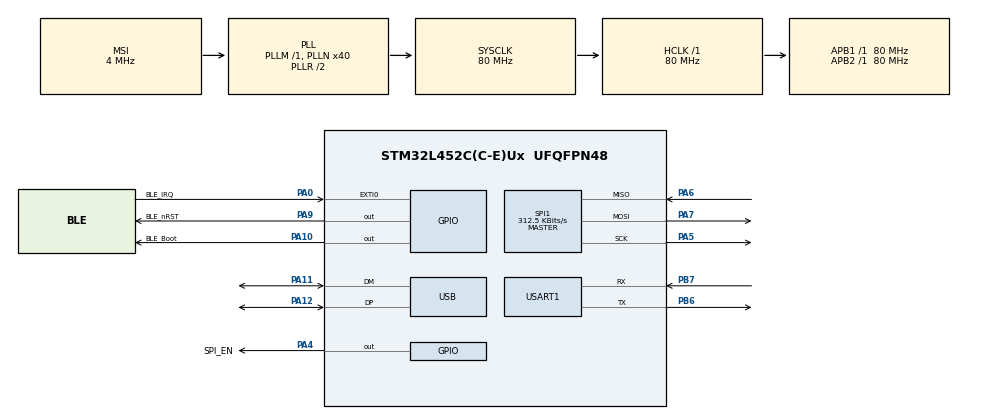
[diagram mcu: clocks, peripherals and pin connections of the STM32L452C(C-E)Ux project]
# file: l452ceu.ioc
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ARM.CMSIS.5.6.0.CMSISJjCORE=true
ARM.CMSIS.5.6.0.DeviceJjStartup=COoStartup
Dma.Request0=SPI1_TX
Dma.Request1=SPI1_RX
Dma.SPI1_RX.1.Direction=DMA_PERIPH_TO_MEMORY
Dma.SPI1_RX.1.Instance=DMA1_Channel2
Dma.SPI1_RX.1.MemDataAlignment=DMA_MDATAALIGN_BYTE
Dma.SPI1_RX.1.MemInc=DMA_MINC_ENABLE
Dma.SPI1_RX.1.Mode=DMA_NORMAL
Dma.SPI1_RX.1.PeriphDataAlignment=DMA_PDATAALIGN_BYTE
Dma.SPI1_RX.1.PeriphInc=DMA_PINC_DISABLE
Dma.SPI1_RX.1.Priority=DMA_PRIORITY_LOW
Dma.SPI1_TX.0.Direction=DMA_MEMORY_TO_PERIPH
Dma.SPI1_TX.0.Instance=DMA1_Channel3
Dma.SPI1_TX.0.MemDataAlignment=DMA_MDATAALIGN_BYTE
Dma.SPI1_TX.0.MemInc=DMA_MINC_ENABLE
Dma.SPI1_TX.0.Mode=DMA_NORMAL
Dma.SPI1_TX.0.PeriphDataAlignment=DMA_PDATAALIGN_BYTE
Dma.SPI1_TX.0.PeriphInc=DMA_PINC_DISABLE
Dma.SPI1_TX.0.Priority=DMA_PRIORITY_LOW
Mcu.Family=STM32L4
Mcu.Name=STM32L452C(C-E)Ux
Mcu.Package=UFQFPN48
NVIC.DMA1_Channel2_IRQn=true\:2\:0\:true\:false\:true\:false\:true
NVIC.DMA1_Channel3_IRQn=true\:2\:0\:true\:false\:true\:false\:true
NVIC.EXTI0_IRQn=true\:0\:0\:false\:false\:true\:true\:true
NVIC.PriorityGroup=NVIC_PRIORITYGROUP_4
NVIC.SPI1_IRQn=true\:0\:0\:false\:false\:true\:true\:true
NVIC.TIM6_DAC_IRQn=true\:3\:0\:true\:false\:true\:true\:true
NVIC.USART1_IRQn=true\:0\:0\:false\:false\:true\:true\:true
NVIC.USB_IRQn=true\:0\:0\:false\:false\:true\:false\:true
PA0.GPIO_Label=BLE_IRQ
PA0.GPIO_ModeDefaultEXTI=GPIO_MODE_IT_RISING_FALLING
PA0.Signal=GPXTI0
PA10.GPIO_Label=BLE_Boot
PA10.GPIO_ModeDefaultOutputPP=GPIO_MODE_OUTPUT_PP
PA10.GPIO_PuPd=GPIO_NOPULL
PA10.GPIO_Speed=GPIO_SPEED_FREQ_LOW
PA10.PinState=GPIO_PIN_RESET
PA10.Signal=GPIO_Output
PA11.Mode=Device
PA11.Signal=USB_DM
PA12.Mode=Device
PA12.Signal=USB_DP
PA13\ (JTMS/SWDIO).Mode=Serial_Wire
PA13\ (JTMS/SWDIO).Signal=SYS_JTMS-SWDIO
PA14\ (JTCK/SWCLK).Mode=Serial_Wire
PA14\ (JTCK/SWCLK).Signal=SYS_JTCK-SWCLK
PA4.GPIO_Label=SPI_EN
PA4.GPIO_ModeDefaultOutputPP=GPIO_MODE_OUTPUT_PP
PA4.GPIO_PuPd=GPIO_NOPULL
PA4.GPIO_Speed=GPIO_SPEED_FREQ_LOW
PA4.PinState=GPIO_PIN_RESET
PA4.Signal=GPIO_Output
PA5.Mode=Full_Duplex_Master
PA5.Signal=SPI1_SCK
PA6.Mode=Full_Duplex_Master
PA6.Signal=SPI1_MISO
PA7.Mode=Full_Duplex_Master
PA7.Signal=SPI1_MOSI
PA9.GPIO_Label=BLE_nRST
PA9.GPIO_ModeDefaultOutputPP=GPIO_MODE_OUTPUT_PP
PA9.GPIO_PuPd=GPIO_NOPULL
PA9.GPIO_Speed=GPIO_SPEED_FREQ_LOW
PA9.PinState=GPIO_PIN_RESET
PA9.Signal=GPIO_Output
PB6.Mode=Asynchronous
PB6.Signal=USART1_TX
PB7.Mode=Asynchronous
PB7.Signal=USART1_RX
ProjectManager.HeapSize=0x200
ProjectManager.StackSize=0x400
ProjectManager.TargetToolchain=MDK-ARM V5.27
RCC.ADCFreq_Value=48000000
RCC.AHBFreq_Value=80000000
RCC.APB1Freq_Value=80000000
RCC.APB1TimFreq_Value=80000000
RCC.APB2Freq_Value=80000000
RCC.APB2TimFreq_Value=80000000
RCC.CortexFreq_Value=80000000
RCC.HCLKFreq_Value=80000000
RCC.HSE_VALUE=48000000
RCC.HSI48_VALUE=48000000
RCC.HSI_VALUE=16000000
RCC.LSE_VALUE=32768
RCC.MSI_VALUE=4000000
RCC.PLLN=40
RCC.PLLSAI1N=24
RCC.SYSCLKFreq_VALUE=80000000
RCC.SYSCLKSource=RCC_SYSCLKSOURCE_PLLCLK
RCC.USBFreq_Value=48000000
RCC.VCOOutputFreq_Value=160000000
SPI1.BaudRatePrescaler=SPI_BAUDRATEPRESCALER_256
SPI1.CLKPhase=SPI_PHASE_2EDGE
SPI1.CLKPolarity=SPI_POLARITY_HIGH
SPI1.CalculateBaudRate=312.5 KBits/s
SPI1.DataSize=SPI_DATASIZE_8BIT
SPI1.Direction=SPI_DIRECTION_2LINES
SPI1.Mode=SPI_MODE_MASTER
SPI1.VirtualType=VM_MASTER
TIM6.Period=100
TIM6.Prescaler=80
USART1.VirtualMode-Asynchronous=VM_ASYNC
USB_DEVICE.CLASS_NAME_FS=CDC
USB_DEVICE.USBD_MAX_STR_DESC_SIZ=1024
USB_DEVICE.VirtualMode=Cdc
USB_DEVICE.VirtualModeFS=Cdc_FS
VP_ARM.CMSIS_VS_CMSISJjCORE_5.3.0.Mode=CMSISJjCORE
VP_TIM6_VS_ClockSourceINT.Mode=Enable_Timer
VP_USB_DEVICE_VS_USB_DEVICE_CDC_FS.Mode=CDC_FS
board=custom

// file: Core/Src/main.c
/* USER CODE BEGIN Header */
/**
  ******************************************************************************
  * @file           : main.c
  * @brief          : Main program body
  ******************************************************************************
  * @attention
  *
  * <h2><center>&copy; Copyright (c) 2020 STMicroelectronics.
  * All rights reserved.</center></h2>
  *
  * This software component is licensed by ST under Ultimate Liberty license
  * SLA0044, the "License"; You may not use this file except in compliance with
  * the License. You may obtain a copy of the License at:
  *                             www.st.com/SLA0044
  *
  ******************************************************************************
  */
/* USER CODE END Header */

#include "main.h"
#include "dma.h"
#include "spi.h"
#include "tim.h"
#include "usart.h"
#include "usb_device.h"
#include "gpio.h"

/* USER CODE BEGIN Includes */
#include "queue.h"
#include "usbd_cdc_if.h"
#include "sw_timers.h"
/* USER CODE END Includes */

/* USER CODE BEGIN PV */
Queue q_from_spirx;
Queue q_from_usbrx;

uint8_t test_buf[MAX_STRING_LENGTH] = {0};

volatile bool received = false;
volatile bool exchanged = true;

uint8_t spi_transmit_buff[MAX_STRING_LENGTH];
uint8_t spi_receive_buff[MAX_STRING_LENGTH];

uint8_t usb_transmit_buff[MAX_STRING_LENGTH];
uint8_t usb_receive_buff[MAX_STRING_LENGTH];

struct timer t_resolver;
/* USER CODE END PV */

void SystemClock_Config(void);

/* USER CODE BEGIN 0 */

void HAL_SPI_TxRxCpltCallback(SPI_HandleTypeDef *hspi)
{
	exchanged = true;
	queue_push(&q_from_spirx, spi_receive_buff, MAX_STRING_LENGTH);
	HAL_GPIO_WritePin(SPI_EN_GPIO_Port, SPI_EN_Pin, GPIO_PIN_SET);
}
//

void HAL_TIM_PeriodElapsedCallback(TIM_HandleTypeDef *htim)
{
	if(htim->Instance == TIM6)
	{
		t_OnDigitCompleteInterrupt();
	}
}
//

void HAL_SPI_RxCpltCallback(SPI_HandleTypeDef *hspi)
{
	if(hspi->Instance == hspi1.Instance)
	{
		queue_push(&q_from_spirx, spi_receive_buff, MAX_STRING_LENGTH);
		HAL_GPIO_WritePin(SPI_EN_GPIO_Port, SPI_EN_Pin, GPIO_PIN_SET);
		exchanged = true;
	}
}
//

void HAL_GPIO_EXTI_Callback(uint16_t GPIO_Pin)
{
	if(GPIO_Pin == BLE_IRQ_Pin)
	{
		if(HAL_GPIO_ReadPin(BLE_IRQ_GPIO_Port, BLE_IRQ_Pin) == GPIO_PIN_SET && queue_isempty(&q_from_usbrx))
		{
			exchanged = false;
			HAL_GPIO_WritePin(SPI_EN_GPIO_Port, SPI_EN_Pin, GPIO_PIN_RESET);
			HAL_SPI_Receive_DMA(&hspi1, spi_receive_buff, MAX_STRING_LENGTH);
		}
	}
}
//

/**
	*	@brief	Функция приема сообщения с CDC
	*	@note		см. функцию @ref CDC_Receive_FS
	*	@param
	*	@retval
**/
//
void Connection_RecieveCallback(uint8_t* buffer, uint32_t Len)
{
	queue_push(&q_from_usbrx, buffer, Len);
}
//

/**
	*	@brief	Функция приема сообщения с CDC
	*	@note		см. функцию @ref CDC_Transmit_FS
	*	@param
	*	@retval
**/
//
void Connection_TransmitCallback(void)
{

}

/* USER CODE END 0 */

int main(void)
{

  /* MCU Configuration--------------------------------------------------------*/

  /* Reset of all peripherals, Initializes the Flash interface and the Systick. */
  HAL_Init();

  /* Configure the system clock */
  SystemClock_Config();

  /* Initialize all configured peripherals */
  MX_GPIO_Init();
  MX_DMA_Init();
  MX_SPI1_Init();
  MX_USART1_UART_Init();
  MX_USB_DEVICE_Init();
  MX_TIM6_Init();
  /* USER CODE BEGIN 2 */
	queue_init(&q_from_spirx);
	queue_init(&q_from_usbrx);
  HAL_GPIO_WritePin(BLE_Boot_GPIO_Port, BLE_Boot_Pin, GPIO_PIN_RESET);
	HAL_GPIO_WritePin(BLE_nRST_GPIO_Port, BLE_nRST_Pin, GPIO_PIN_SET);
	HAL_Delay(1000);
	HAL_GPIO_WritePin(BLE_nRST_GPIO_Port, BLE_nRST_Pin, GPIO_PIN_RESET);
	HAL_Delay(500);
	HAL_GPIO_WritePin(BLE_nRST_GPIO_Port, BLE_nRST_Pin, GPIO_PIN_SET);
  /* USER CODE END 2 */

  /* Infinite loop */
  /* USER CODE BEGIN WHILE */

	//заполнение тестового массива данных
	for(int i = 0; i < MAX_STRING_LENGTH; i++)
	{
		test_buf[i] = i;
	}

	Timer_set(&t_resolver, 500, NULL, true, false, true);

  while (1)
  {
		t_OnDigitCompleteContinuous();

		if(exchanged == true)
			{
				//включение тестового массива данных в очередь
				//queue_push(&q_from_usbrx, test_buf, sizeof(test_buf[0])*MAX_QLENGTH);
				if(!queue_isempty(&q_from_usbrx))
					{
						memset(spi_transmit_buff, 0, sizeof(spi_transmit_buff[0])*MAX_STRING_LENGTH);
						queue_get_front(&q_from_usbrx, spi_transmit_buff, 0,  queue_get_frontl(&q_from_usbrx));
						HAL_GPIO_WritePin(SPI_EN_GPIO_Port, SPI_EN_Pin, GPIO_PIN_RESET);
						if(HAL_SPI_TransmitReceive_DMA(&hspi1, spi_transmit_buff, spi_receive_buff, MAX_STRING_LENGTH) != HAL_OK)
							{
								Error_Handler();
							}
							exchanged = false;
							queue_pop(&q_from_usbrx);
					}
			}
		if(!queue_isempty(&q_from_spirx))
			{
				memset(usb_transmit_buff, 0, MAX_STRING_LENGTH);
				queue_get_front(&q_from_spirx, usb_transmit_buff, 0,  queue_get_frontl(&q_from_spirx));
				CDC_Transmit_FS(usb_transmit_buff, MAX_STRING_LENGTH);
				queue_pop(&q_from_spirx);
			}
    /* USER CODE END WHILE */

  }
}

void SystemClock_Config(void)
{
  RCC_OscInitTypeDef RCC_OscInitStruct = {0};
  RCC_ClkInitTypeDef RCC_ClkInitStruct = {0};
  RCC_PeriphCLKInitTypeDef PeriphClkInit = {0};

  /** Initializes the CPU, AHB and APB busses clocks
  */
  RCC_OscInitStruct.OscillatorType = RCC_OSCILLATORTYPE_MSI;
  RCC_OscInitStruct.MSIState = RCC_MSI_ON;
  RCC_OscInitStruct.MSICalibrationValue = 0;
  RCC_OscInitStruct.MSIClockRange = RCC_MSIRANGE_6;
  RCC_OscInitStruct.PLL.PLLState = RCC_PLL_ON;
  RCC_OscInitStruct.PLL.PLLSource = RCC_PLLSOURCE_MSI;
  RCC_OscInitStruct.PLL.PLLM = 1;
  RCC_OscInitStruct.PLL.PLLN = 40;
  RCC_OscInitStruct.PLL.PLLP = RCC_PLLP_DIV7;
  RCC_OscInitStruct.PLL.PLLQ = RCC_PLLQ_DIV2;
  RCC_OscInitStruct.PLL.PLLR = RCC_PLLR_DIV2;
  if (HAL_RCC_OscConfig(&RCC_OscInitStruct) != HAL_OK)
  {
    Error_Handler();
  }
  /** Initializes the CPU, AHB and APB busses clocks
  */
  RCC_ClkInitStruct.ClockType = RCC_CLOCKTYPE_HCLK|RCC_CLOCKTYPE_SYSCLK
                              |RCC_CLOCKTYPE_PCLK1|RCC_CLOCKTYPE_PCLK2;
  RCC_ClkInitStruct.SYSCLKSource = RCC_SYSCLKSOURCE_PLLCLK;
  RCC_ClkInitStruct.AHBCLKDivider = RCC_SYSCLK_DIV1;
  RCC_ClkInitStruct.APB1CLKDivider = RCC_HCLK_DIV1;
  RCC_ClkInitStruct.APB2CLKDivider = RCC_HCLK_DIV1;

  if (HAL_RCC_ClockConfig(&RCC_ClkInitStruct, FLASH_LATENCY_4) != HAL_OK)
  {
    Error_Handler();
  }
  PeriphClkInit.PeriphClockSelection = RCC_PERIPHCLK_USART1|RCC_PERIPHCLK_USB;
  PeriphClkInit.Usart1ClockSelection = RCC_USART1CLKSOURCE_PCLK2;
  PeriphClkInit.UsbClockSelection = RCC_USBCLKSOURCE_PLLSAI1;
  PeriphClkInit.PLLSAI1.PLLSAI1Source = RCC_PLLSOURCE_MSI;
  PeriphClkInit.PLLSAI1.PLLSAI1M = 1;
  PeriphClkInit.PLLSAI1.PLLSAI1N = 24;
  PeriphClkInit.PLLSAI1.PLLSAI1P = RCC_PLLP_DIV7;
  PeriphClkInit.PLLSAI1.PLLSAI1Q = RCC_PLLQ_DIV2;
  PeriphClkInit.PLLSAI1.PLLSAI1R = RCC_PLLR_DIV2;
  PeriphClkInit.PLLSAI1.PLLSAI1ClockOut = RCC_PLLSAI1_48M2CLK;
  if (HAL_RCCEx_PeriphCLKConfig(&PeriphClkInit) != HAL_OK)
  {
    Error_Handler();
  }
  /** Configure the main internal regulator output voltage
  */
  if (HAL_PWREx_ControlVoltageScaling(PWR_REGULATOR_VOLTAGE_SCALE1) != HAL_OK)
  {
    Error_Handler();
  }
}

void Error_Handler(void)
{
}

/************************ (C) COPYRIGHT STMicroelectronics *****END OF FILE****/
